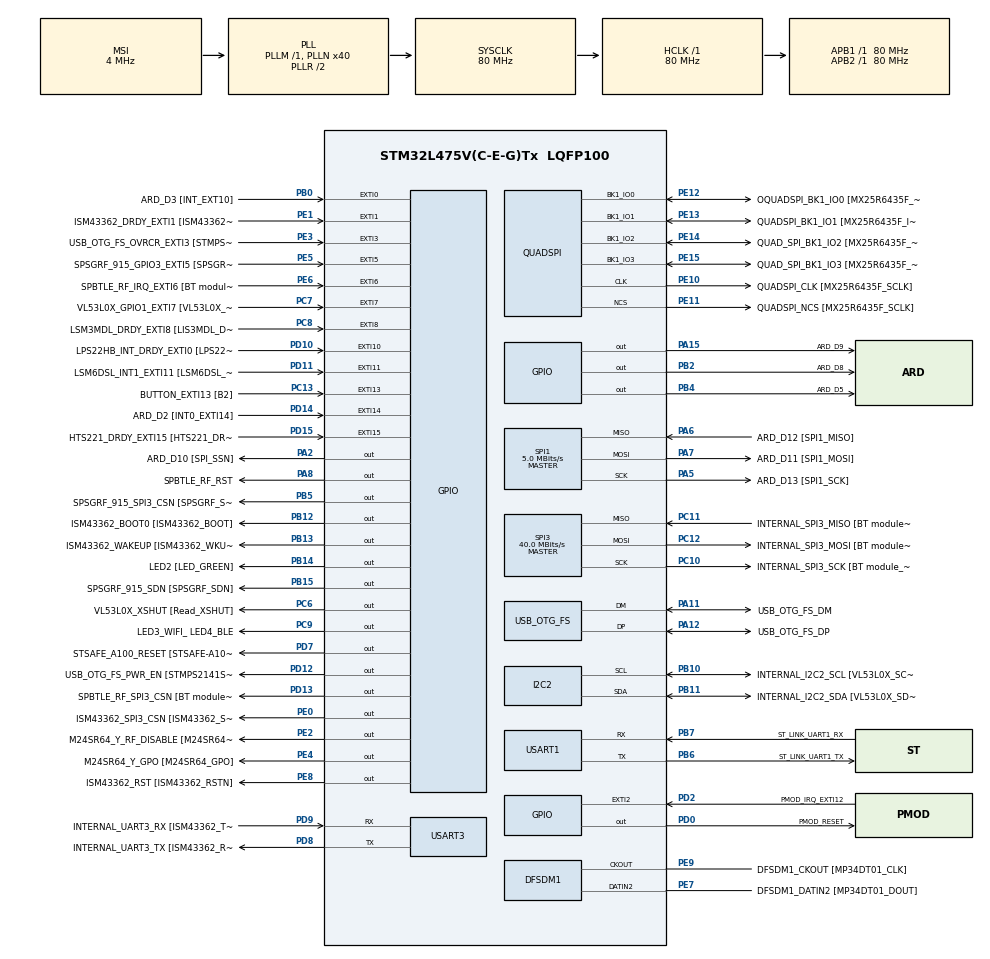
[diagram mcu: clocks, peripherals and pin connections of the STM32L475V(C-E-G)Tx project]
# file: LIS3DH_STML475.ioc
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Mcu.Family=STM32L4
Mcu.Name=STM32L475V(C-E-G)Tx
Mcu.Package=LQFP100
NVIC.EXTI15_10_IRQn=true\:0\:0\:false\:false\:true\:true\:true
NVIC.EXTI9_5_IRQn=true\:0\:0\:false\:false\:true\:true\:true
NVIC.PriorityGroup=NVIC_PRIORITYGROUP_4
PA0.GPIO_Label=ARD_D1 [UART4_TX]
PA0.Signal=UART4_TX
PA1.GPIO_Label=ARD_D0 [UART4_RX]
PA1.Signal=UART4_RX
PA10.GPIO_Label=USB_OTG_FS_ID
PA10.Signal=USB_OTG_FS_ID
PA11.GPIO_Label=USB_OTG_FS_DM
PA11.Mode=Device_Only
PA11.Signal=USB_OTG_FS_DM
PA12.GPIO_Label=USB_OTG_FS_DP
PA12.Mode=Device_Only
PA12.Signal=USB_OTG_FS_DP
PA13\ (JTMS-SWDIO).GPIO_Label=SYS_JTMS_SWDIO
PA13\ (JTMS-SWDIO).Mode=Serial_Wire
PA13\ (JTMS-SWDIO).Signal=SYS_JTMS-SWDIO
PA14\ (JTCK-SWCLK).GPIO_Label=SYS_JTCK_SWCLK
PA14\ (JTCK-SWCLK).Mode=Serial_Wire
PA14\ (JTCK-SWCLK).Signal=SYS_JTCK-SWCLK
PA15\ (JTDI).GPIO_Label=ARD_D9
PA15\ (JTDI).Signal=GPIO_Output
PA2.GPIO_Label=ARD_D10 [SPI_SSN]
PA2.Signal=GPIO_Output
PA3.GPIO_Label=ARD_D4
PA3.Signal=S_TIM2_CH4
PA4.GPIO_Label=ARD_D7
PA4.Signal=ADCx_IN9
PA5.GPIO_Label=ARD_D13 [SPI1_SCK]
PA5.Mode=Full_Duplex_Master
PA5.Signal=SPI1_SCK
PA6.GPIO_Label=ARD_D12 [SPI1_MISO]
PA6.Mode=Full_Duplex_Master
PA6.Signal=SPI1_MISO
PA7.GPIO_Label=ARD_D11 [SPI1_MOSI]
PA7.Mode=Full_Duplex_Master
PA7.Signal=SPI1_MOSI
PA8.GPIO_Label=SPBTLE_RF_RST
PA8.Signal=GPIO_Output
PA9.GPIO_Label=USB_OTG_FS_VBUS [STMPS2141STR_OUT]
PA9.Signal=USB_OTG_FS_VBUS
PB0.GPIO_Label=ARD_D3 [INT_EXT10]
PB0.Signal=GPXTI0
PB1.GPIO_Label=ARD_D6 [ADC1_IN6]
PB1.Signal=ADCx_IN16
PB10.GPIO_Label=INTERNAL_I2C2_SCL [VL53L0X_SCL]
PB10.Mode=I2C
PB10.Signal=I2C2_SCL
PB11.GPIO_Label=INTERNAL_I2C2_SDA [VL53L0X_SDA]
PB11.Mode=I2C
PB11.Signal=I2C2_SDA
PB12.GPIO_Label=ISM43362_BOOT0 [ISM43362_BOOT]
PB12.Signal=GPIO_Output
PB13.GPIO_Label=ISM43362_WAKEUP [ISM43362_WKUP]
PB13.Signal=GPIO_Output
PB14.GPIO_Label=LED2 [LED_GREEN]
PB14.Signal=GPIO_Output
PB15.GPIO_Label=SPSGRF_915_SDN [SPSGRF_SDN]
PB15.Signal=GPIO_Output
PB2.GPIO_Label=ARD_D8
PB2.Signal=GPIO_Output
PB3\ (JTDO-TRACESWO).GPIO_Label=SYS_JTD0_SWO
PB3\ (JTDO-TRACESWO).Signal=SYS_JTDO-SWO
PB4\ (NJTRST).GPIO_Label=ARD_D5
PB4\ (NJTRST).Signal=GPIO_Output
PB5.GPIO_Label=SPSGRF_915_SPI3_CSN [SPSGRF_SPI_CS]
PB5.PinState=GPIO_PIN_SET
PB5.Signal=GPIO_Output
PB6.GPIO_Label=ST_LINK_UART1_TX
PB6.Mode=Asynchronous
PB6.Signal=USART1_TX
PB7.GPIO_Label=ST_LINK_UART1_RX
PB7.Mode=Asynchronous
PB7.Signal=USART1_RX
PB8.GPIO_Label=ARD_D15 [I2C1_SCL]
PB8.Signal=I2C1_SCL
PB9.GPIO_Label=ARD_D14 [I2C1_SDA]
PB9.Signal=I2C1_SDA
PC0.GPIO_Label=ARD_A5 [ADC]
PC0.Signal=ADCx_IN1
PC1.GPIO_Label=ARD_A4 [ADC]
PC1.Signal=ADCx_IN2
PC10.GPIO_Label=INTERNAL_SPI3_SCK [BT module_SPI_SCLK]
PC10.Mode=Full_Duplex_Master
PC10.Signal=SPI3_SCK
PC11.GPIO_Label=INTERNAL_SPI3_MISO [BT module_SPI_MISO]
PC11.Mode=Full_Duplex_Master
PC11.Signal=SPI3_MISO
PC12.GPIO_Label=INTERNAL_SPI3_MOSI [BT module_SPI_MOSI]
PC12.Mode=Full_Duplex_Master
PC12.Signal=SPI3_MOSI
PC13.GPIO_Label=BUTTON_EXTI13 [B2]
PC13.GPIO_ModeDefaultEXTI=GPIO_MODE_IT_FALLING
PC13.Signal=GPXTI13
PC14-OSC32_IN\ (PC14).Mode=LSE-External-Oscillator
PC14-OSC32_IN\ (PC14).Signal=RCC_OSC32_IN
PC15-OSC32_OUT\ (PC15).Mode=LSE-External-Oscillator
PC15-OSC32_OUT\ (PC15).Signal=RCC_OSC32_OUT
PC2.GPIO_Label=ARD_A3 [ADC]
PC2.Signal=ADCx_IN3
PC3.GPIO_Label=ARD_A2 [ADC]
PC3.Signal=ADCx_IN4
PC4.GPIO_Label=ARD_A1 [ADC]
PC4.Signal=ADCx_IN13
PC5.GPIO_Label=ARD_A0 [ADC]
PC5.Signal=ADCx_IN14
PC6.GPIO_Label=VL53L0X_XSHUT [Read_XSHUT]
PC6.Signal=GPIO_Output
PC7.GPIO_Label=VL53L0X_GPIO1_EXTI7 [VL53L0X_GPIO1]
PC7.Signal=GPXTI7
PC8.GPIO_Label=LSM3MDL_DRDY_EXTI8 [LIS3MDL_DRDY]
PC8.Signal=GPXTI8
PC9.GPIO_Label=LED3_WIFI_ LED4_BLE
PC9.Signal=GPIO_Output
PD0.GPIO_Label=PMOD_RESET
PD0.Signal=GPIO_Output
PD1.GPIO_Label=PMOD_SPI2_SCK
PD1.Signal=SPI2_SCK
PD10.GPIO_Label=LPS22HB_INT_DRDY_EXTI0 [LPS22HB_INT_DRDY] 
PD10.Signal=GPXTI10
PD11.GPIO_Label=LSM6DSL_INT1_EXTI11 [LSM6DSL_INT1]
PD11.Signal=GPXTI11
PD12.GPIO_Label=USB_OTG_FS_PWR_EN [STMPS2141STR_EN]
PD12.Signal=GPIO_Output
PD13.GPIO_Label=SPBTLE_RF_SPI3_CSN [BT module_SPI_CS]
PD13.PinState=GPIO_PIN_SET
PD13.Signal=GPIO_Output
PD14.GPIO_Label=ARD_D2 [INT0_EXTI14]
PD14.Signal=GPXTI14
PD15.GPIO_Label=HTS221_DRDY_EXTI15 [HTS221_DRDY]
PD15.Signal=GPXTI15
PD2.GPIO_Label=PMOD_IRQ_EXTI12
PD2.Signal=GPXTI2
PD3.GPIO_Label=PMOD_UART2_CTS
PD3.Signal=USART2_CTS
PD4.GPIO_Label=PMOD_UART2_RTS
PD4.Signal=USART2_RTS
PD5.GPIO_Label=PMOD_UART2_TX
PD5.Signal=USART2_TX
PD6.GPIO_Label=PMOD_UART2_RX
PD6.Signal=USART2_RX
PD7.GPIO_Label=STSAFE_A100_RESET [STSAFE-A100_RESET]
PD7.Signal=GPIO_Output
PD8.GPIO_Label=INTERNAL_UART3_TX [ISM43362_RX]
PD8.Mode=Asynchronous
PD8.Signal=USART3_TX
PD9.GPIO_Label=INTERNAL_UART3_RX [ISM43362_TX]
PD9.Mode=Asynchronous
PD9.Signal=USART3_RX
PE0.GPIO_Label=ISM43362_SPI3_CSN [ISM43362_SSN]
PE0.PinState=GPIO_PIN_SET
PE0.Signal=GPIO_Output
PE1.GPIO_Label=ISM43362_DRDY_EXTI1 [ISM43362_DATARDY]
PE1.Signal=GPXTI1
PE10.GPIO_Label=QUADSPI_CLK [MX25R6435F_SCLK]
PE10.Mode=Single Bank
PE10.Signal=QUADSPI_CLK
PE11.GPIO_Label=QUADSPI_NCS [MX25R6435F_SCLK]
PE11.Mode=Single Bank
PE11.Signal=QUADSPI_NCS
PE12.GPIO_Label=OQUADSPI_BK1_IO0 [MX25R6435F_IO0]
PE12.Mode=Single Bank
PE12.Signal=QUADSPI_BK1_IO0
PE13.GPIO_Label=QUADSPI_BK1_IO1 [MX25R6435F_IO1]
PE13.Mode=Single Bank
PE13.Signal=QUADSPI_BK1_IO1
PE14.GPIO_Label=QUAD_SPI_BK1_IO2 [MX25R6435F_IO2]
PE14.Mode=Single Bank
PE14.Signal=QUADSPI_BK1_IO2
PE15.GPIO_Label=QUAD_SPI_BK1_IO3 [MX25R6435F_IO3]
PE15.Mode=Single Bank
PE15.Signal=QUADSPI_BK1_IO3
PE2.GPIO_Label=M24SR64_Y_RF_DISABLE [M24SR64_RFDIS]
PE2.Signal=GPIO_Output
PE3.GPIO_Label=USB_OTG_FS_OVRCR_EXTI3 [STMPS2141STR_FAULT]
PE3.Signal=GPXTI3
PE4.GPIO_Label=M24SR64_Y_GPO [M24SR64_GPO]
PE4.Signal=GPIO_Output
PE5.GPIO_Label=SPSGRF_915_GPIO3_EXTI5 [SPSGRF_GPIO_3]
PE5.Signal=GPXTI5
PE6.GPIO_Label=SPBTLE_RF_IRQ_EXTI6 [BT module_SPI_IRQ]
PE6.Signal=GPXTI6
PE7.GPIO_Label=DFSDM1_DATIN2 [MP34DT01_DOUT]
PE7.Signal=S_DATAIN2DFSDM1
PE8.GPIO_Label=ISM43362_RST [ISM43362_RSTN]
PE8.Signal=GPIO_Output
PE9.GPIO_Label=DFSDM1_CKOUT [MP34DT01_CLK]
PE9.Signal=S_CKOUTDFSDM1
ProjectManager.HeapSize=0x200
ProjectManager.StackSize=0x400
ProjectManager.TargetToolchain=STM32CubeIDE
RCC.ADCFreq_Value=48000000
RCC.AHBFreq_Value=80000000
RCC.APB1Freq_Value=80000000
RCC.APB1TimFreq_Value=80000000
RCC.APB2Freq_Value=80000000
RCC.APB2TimFreq_Value=80000000
RCC.CortexFreq_Value=80000000
RCC.HCLKFreq_Value=80000000
RCC.HSE_VALUE=8000000
RCC.HSI_VALUE=16000000
RCC.MSI_VALUE=4000000
RCC.PLLN=40
RCC.PLLSAI1N=24
RCC.SYSCLKFreq_VALUE=80000000
RCC.SYSCLKSource=RCC_SYSCLKSOURCE_PLLCLK
RCC.USBFreq_Value=48000000
RCC.VCOOutputFreq_Value=160000000
SH.ADCx_IN1.0=ADC1_IN1
SH.ADCx_IN13.0=ADC1_IN13
SH.ADCx_IN14.0=ADC1_IN14
SH.ADCx_IN16.0=ADC1_IN16
SH.ADCx_IN2.0=ADC1_IN2
SH.ADCx_IN3.0=ADC1_IN3
SH.ADCx_IN4.0=ADC1_IN4
SH.ADCx_IN9.0=ADC1_IN9
SH.S_CKOUTDFSDM1.0=DFSDM1_CKOUT,CKOUT
SH.S_CKOUTDFSDM1.1=DFSDM1_CKOUT,PDM_SPI_Input_from_ch12_and_Internal_Clock
SH.S_DATAIN2DFSDM1.0=DFSDM1_DATIN2,PDM_SPI_Input_from_ch12_and_Internal_Clock
SH.S_TIM2_CH4.0=TIM2_CH4
SPI1.BaudRatePrescaler=SPI_BAUDRATEPRESCALER_16
SPI1.CalculateBaudRate=5.0 MBits/s
SPI1.DataSize=SPI_DATASIZE_8BIT
SPI1.Direction=SPI_DIRECTION_2LINES
SPI1.Mode=SPI_MODE_MASTER
SPI1.VirtualType=VM_MASTER
SPI3.CalculateBaudRate=40.0 MBits/s
SPI3.Direction=SPI_DIRECTION_2LINES
SPI3.Mode=SPI_MODE_MASTER
SPI3.VirtualType=VM_MASTER
USART1.VirtualMode-Asynchronous=VM_ASYNC
USART3.VirtualMode-Asynchronous=VM_ASYNC
USB_OTG_FS.VirtualMode=Device_Only
board=B-L475E-IOT01A1

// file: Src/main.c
/* USER CODE BEGIN Header */
/**
  ******************************************************************************
  * @file           : main.c
  * @brief          : Main program body
  ******************************************************************************
  * @attention
  *
  * <h2><center>&copy; Copyright (c) 2020 STMicroelectronics.
  * All rights reserved.</center></h2>
  *
  * This software component is licensed by ST under BSD 3-Clause license,
  * the "License"; You may not use this file except in compliance with the
  * License. You may obtain a copy of the License at:
  *                        opensource.org/licenses/BSD-3-Clause
  *
  ******************************************************************************
  */
/* USER CODE END Header */

#include "main.h"
#include "math.h"

/* USER CODE BEGIN PD */
// register addresses

/* USER CODE END PD */

DFSDM_Channel_HandleTypeDef hdfsdm1_channel1;

I2C_HandleTypeDef hi2c2;

QSPI_HandleTypeDef hqspi;

SPI_HandleTypeDef hspi1;
SPI_HandleTypeDef hspi3;

UART_HandleTypeDef huart1;
UART_HandleTypeDef huart3;

PCD_HandleTypeDef hpcd_USB_OTG_FS;

void SystemClock_Config(void);
static void MX_GPIO_Init(void);
static void MX_DFSDM1_Init(void);
static void MX_I2C2_Init(void);
static void MX_QUADSPI_Init(void);
static void MX_SPI1_Init(void);
static void MX_SPI3_Init(void);
static void MX_USART1_UART_Init(void);
static void MX_USART3_UART_Init(void);
static void MX_USB_OTG_FS_PCD_Init(void);

/* USER CODE BEGIN 0 */

//~~~~~~~~~~~~~~~~~~~~~~~~~~~~~~ Driver code for LIS3DH control ~~~~~~~~~~~~~~~~~~~~~~~~~~~~~~

#define LIS3DH_REG_STATUS_AUX    0x07
#define LIS3DH_REG_OUT_ADC1_L    0x08
#define LIS3DH_REG_OUT_ADC1_H    0x09
#define LIS3DH_REG_OUT_ADC2_L    0x0a
#define LIS3DH_REG_OUT_ADC2_H    0x0b
#define LIS3DH_REG_OUT_ADC3_L    0x0c
#define LIS3DH_REG_OUT_ADC3_H    0x0d
#define LIS3DH_REG_INT_COUNTER   0x0e
#define LIS3DH_REG_WHO_AM_I      0x0f
#define LIS3DH_REG_TEMP_CFG      0x1f
#define LIS3DH_REG_CTRL1         0x20
#define LIS3DH_REG_STATUS        0x27
#define LIS3DH_REG_OUT_X_L       0x28
#define LIS3DH_REG_OUT_X_H       0x29
#define LIS3DH_REG_OUT_Y_L       0x2a
#define LIS3DH_REG_OUT_Y_H       0x2b
#define LIS3DH_REG_OUT_Z_L       0x2c
#define LIS3DH_REG_OUT_Z_H       0x2d

#define LIS3DH_READ				 0x80
#define LIS3DH_WRITE			 0x00

#define LIS3DH_ON_1HZ		 	 0x17
#define LIS3DH_ON_10HZ		     0x27
#define LIS3DH_ON_25HZ		     0x37
#define LIS3DH_ON_50HZ		     0x47
#define LIS3DH_ON_100HZ		     0x57
#define LIS3DH_ON_200HZ		     0x67
#define LIS3DH_ON_400HZ		     0x77
#define LIS3DH_ON_ADC		     0x80

GPIO_TypeDef * LIS3DH_CS_Port;
uint16_t LIS3DH_CS_Pin;

//Chip Select is active low for SPI.  So Enable drives the GPIO low (Reset)
#define LIS3DH_SPI_ENABLE HAL_GPIO_WritePin(LIS3DH_CS_Port, LIS3DH_CS_Pin, 0);
#define LIS3DH_SPI_DISABLE HAL_GPIO_WritePin (LIS3DH_CS_Port, LIS3DH_CS_Pin, 1);

SPI_HandleTypeDef LIS3DH_hspi;

uint8_t LIS3DH_readReg(uint8_t lis3dhReg)
{
	uint8_t sendAddr;
	uint8_t readData;

	sendAddr = LIS3DH_READ | lis3dhReg;

    LIS3DH_SPI_ENABLE;

    HAL_SPI_Transmit(&LIS3DH_hspi, &sendAddr, 1, HAL_MAX_DELAY);
    HAL_SPI_Receive(&LIS3DH_hspi, &readData, 1, HAL_MAX_DELAY);

	LIS3DH_SPI_DISABLE;

	return (readData);

}
void LIS3DH_writeReg(uint8_t lis3dhReg, uint8_t lis3dhValue)
{
	uint8_t sendAddr;
	uint8_t sendData;

	sendAddr = LIS3DH_WRITE | lis3dhReg;
	sendData = lis3dhValue;

    LIS3DH_SPI_ENABLE;

    HAL_SPI_Transmit(&LIS3DH_hspi, &sendAddr, 1, HAL_MAX_DELAY);
    HAL_SPI_Transmit(&LIS3DH_hspi, &sendData, 1, HAL_MAX_DELAY);

	LIS3DH_SPI_DISABLE;

	return;

}
uint16_t LIS3DH_readX(void)
{
	return((LIS3DH_readReg(LIS3DH_REG_OUT_X_H)<<8) | LIS3DH_readReg(LIS3DH_REG_OUT_X_L));
}
uint16_t LIS3DH_readY(void)
{
	return((LIS3DH_readReg(LIS3DH_REG_OUT_Y_H)<<8) | LIS3DH_readReg(LIS3DH_REG_OUT_Y_L));
}
uint16_t LIS3DH_readZ(void)
{
	return((LIS3DH_readReg(LIS3DH_REG_OUT_Z_H)<<8) | LIS3DH_readReg(LIS3DH_REG_OUT_Z_L));
}

uint16_t LIS3DH_readADC1(void)
{
	return((LIS3DH_readReg(LIS3DH_REG_OUT_ADC1_H)<<8) | LIS3DH_readReg(LIS3DH_REG_OUT_ADC1_L));
}
uint16_t LIS3DH_readADC2(void)
{
	return((LIS3DH_readReg(LIS3DH_REG_OUT_ADC2_H)<<8) | LIS3DH_readReg(LIS3DH_REG_OUT_ADC2_L));
}
uint16_t LIS3DH_readADC3(void)
{
	return((LIS3DH_readReg(LIS3DH_REG_OUT_ADC3_H)<<8) | LIS3DH_readReg(LIS3DH_REG_OUT_ADC3_L));
}
//~~~~~~~~~~~~~~~~~~~~~~~~~~~~~~~~~~~~~~~~~~~~~~~~~~~~~~~~~~~~~~~~~~~~~~~~~~~~~~~~~~~~~~~~~~~~

/* USER CODE END 0 */

int main(void)
{

  /* MCU Configuration--------------------------------------------------------*/

  /* Reset of all peripherals, Initializes the Flash interface and the Systick. */
  HAL_Init();

  /* Configure the system clock */
  SystemClock_Config();

  /* Initialize all configured peripherals */
  MX_GPIO_Init();
  MX_DFSDM1_Init();
  MX_I2C2_Init();
  MX_QUADSPI_Init();
  MX_SPI1_Init();
  MX_SPI3_Init();
  MX_USART1_UART_Init();
  MX_USART3_UART_Init();
  MX_USB_OTG_FS_PCD_Init();

  /* USER CODE BEGIN 2 */

//~~~~~~~~~~~~~~~~~~~~~~~~~~~~ Initialization code for LIS3DH control ~~~~~~~~~~~~~~~~~~~~~~~~~~~
  //configure SPI interface for specific STM device
  LIS3DH_hspi = hspi1;
  LIS3DH_CS_Pin = ARD_D10_Pin;
  LIS3DH_CS_Port = ARD_D10_GPIO_Port;
  //initialize accelerometers
  LIS3DH_writeReg(LIS3DH_REG_CTRL1, LIS3DH_ON_400HZ);
  //preset chip select for normal SPI.
  LIS3DH_SPI_DISABLE;
//~~~~~~~~~~~~~~~~~~~~~~~~~~~~~~~~~~~~~~~~~~~~~~~~~~~~~~~~~~~~~~~~~~~~~~~~~~~~~~~~~~~~~~~~~~~~~~

  /* USER CODE END 2 */

  /* Infinite loop */
  /* USER CODE BEGIN WHILE */

  //~~~~~~~~~~~~~~~~~~~~~~~~~~~~~~ Example LIS3DH accelerometer code ~~~~~~~~~~~~~~~~~~~~~~~~~~~~~
	int xAcceleration;
	int yAcceleration;
	int zAcceleration;

	int xAccelerationOld;
	int yAccelerationOld;
	int zAccelerationOld;

	xAccelerationOld = LIS3DH_readX();
	yAccelerationOld = LIS3DH_readY();
	zAccelerationOld = LIS3DH_readZ();

  while (1)
  {
    /* USER CODE END WHILE */
	xAcceleration = LIS3DH_readX();
	yAcceleration = LIS3DH_readY();
	zAcceleration = LIS3DH_readZ();

	if( (abs(xAcceleration-xAccelerationOld)>40000) ||
		(abs(yAcceleration-yAccelerationOld)>40000) ||
		(abs(zAcceleration-zAccelerationOld)>40000) )
	{
		HAL_GPIO_WritePin(GPIOC, GPIO_PIN_9, 1);
		HAL_Delay(1000);
		HAL_GPIO_WritePin(GPIOC, GPIO_PIN_9, 0);
		xAccelerationOld = xAcceleration;
		yAccelerationOld = yAcceleration;
		zAccelerationOld = zAcceleration;
	}
  //~~~~~~~~~~~~~~~~~~~~~~~~~~~~~~~~~~~~~~~~~~~~~~~~~~~~~~~~~~~~~~~~~~~~~~~~~~~~~~~~~~~~~~~~~~~~~~~

  }
}

void SystemClock_Config(void)
{
  RCC_OscInitTypeDef RCC_OscInitStruct = {0};
  RCC_ClkInitTypeDef RCC_ClkInitStruct = {0};
  RCC_PeriphCLKInitTypeDef PeriphClkInit = {0};

  /** Configure LSE Drive Capability
  */
  HAL_PWR_EnableBkUpAccess();
  __HAL_RCC_LSEDRIVE_CONFIG(RCC_LSEDRIVE_LOW);
  /** Initializes the CPU, AHB and APB busses clocks
  */
  RCC_OscInitStruct.OscillatorType = RCC_OSCILLATORTYPE_LSE|RCC_OSCILLATORTYPE_MSI;
  RCC_OscInitStruct.LSEState = RCC_LSE_ON;
  RCC_OscInitStruct.MSIState = RCC_MSI_ON;
  RCC_OscInitStruct.MSICalibrationValue = 0;
  RCC_OscInitStruct.MSIClockRange = RCC_MSIRANGE_6;
  RCC_OscInitStruct.PLL.PLLState = RCC_PLL_ON;
  RCC_OscInitStruct.PLL.PLLSource = RCC_PLLSOURCE_MSI;
  RCC_OscInitStruct.PLL.PLLM = 1;
  RCC_OscInitStruct.PLL.PLLN = 40;
  RCC_OscInitStruct.PLL.PLLP = RCC_PLLP_DIV7;
  RCC_OscInitStruct.PLL.PLLQ = RCC_PLLQ_DIV2;
  RCC_OscInitStruct.PLL.PLLR = RCC_PLLR_DIV2;
  if (HAL_RCC_OscConfig(&RCC_OscInitStruct) != HAL_OK)
  {
    Error_Handler();
  }
  /** Initializes the CPU, AHB and APB busses clocks
  */
  RCC_ClkInitStruct.ClockType = RCC_CLOCKTYPE_HCLK|RCC_CLOCKTYPE_SYSCLK
                              |RCC_CLOCKTYPE_PCLK1|RCC_CLOCKTYPE_PCLK2;
  RCC_ClkInitStruct.SYSCLKSource = RCC_SYSCLKSOURCE_PLLCLK;
  RCC_ClkInitStruct.AHBCLKDivider = RCC_SYSCLK_DIV1;
  RCC_ClkInitStruct.APB1CLKDivider = RCC_HCLK_DIV1;
  RCC_ClkInitStruct.APB2CLKDivider = RCC_HCLK_DIV1;

  if (HAL_RCC_ClockConfig(&RCC_ClkInitStruct, FLASH_LATENCY_4) != HAL_OK)
  {
    Error_Handler();
  }
  PeriphClkInit.PeriphClockSelection = RCC_PERIPHCLK_USART1|RCC_PERIPHCLK_USART3
                              |RCC_PERIPHCLK_I2C2|RCC_PERIPHCLK_DFSDM1
                              |RCC_PERIPHCLK_USB;
  PeriphClkInit.Usart1ClockSelection = RCC_USART1CLKSOURCE_PCLK2;
  PeriphClkInit.Usart3ClockSelection = RCC_USART3CLKSOURCE_PCLK1;
  PeriphClkInit.I2c2ClockSelection = RCC_I2C2CLKSOURCE_PCLK1;
  PeriphClkInit.Dfsdm1ClockSelection = RCC_DFSDM1CLKSOURCE_PCLK;
  PeriphClkInit.UsbClockSelection = RCC_USBCLKSOURCE_PLLSAI1;
  PeriphClkInit.PLLSAI1.PLLSAI1Source = RCC_PLLSOURCE_MSI;
  PeriphClkInit.PLLSAI1.PLLSAI1M = 1;
  PeriphClkInit.PLLSAI1.PLLSAI1N = 24;
  PeriphClkInit.PLLSAI1.PLLSAI1P = RCC_PLLP_DIV7;
  PeriphClkInit.PLLSAI1.PLLSAI1Q = RCC_PLLQ_DIV2;
  PeriphClkInit.PLLSAI1.PLLSAI1R = RCC_PLLR_DIV2;
  PeriphClkInit.PLLSAI1.PLLSAI1ClockOut = RCC_PLLSAI1_48M2CLK;
  if (HAL_RCCEx_PeriphCLKConfig(&PeriphClkInit) != HAL_OK)
  {
    Error_Handler();
  }
  /** Configure the main internal regulator output voltage
  */
  if (HAL_PWREx_ControlVoltageScaling(PWR_REGULATOR_VOLTAGE_SCALE1) != HAL_OK)
  {
    Error_Handler();
  }
  /** Enable MSI Auto calibration
  */
  HAL_RCCEx_EnableMSIPLLMode();
}

static void MX_DFSDM1_Init(void)
{

  hdfsdm1_channel1.Instance = DFSDM1_Channel1;
  hdfsdm1_channel1.Init.OutputClock.Activation = ENABLE;
  hdfsdm1_channel1.Init.OutputClock.Selection = DFSDM_CHANNEL_OUTPUT_CLOCK_SYSTEM;
  hdfsdm1_channel1.Init.OutputClock.Divider = 2;
  hdfsdm1_channel1.Init.Input.Multiplexer = DFSDM_CHANNEL_EXTERNAL_INPUTS;
  hdfsdm1_channel1.Init.Input.DataPacking = DFSDM_CHANNEL_STANDARD_MODE;
  hdfsdm1_channel1.Init.Input.Pins = DFSDM_CHANNEL_FOLLOWING_CHANNEL_PINS;
  hdfsdm1_channel1.Init.SerialInterface.Type = DFSDM_CHANNEL_SPI_RISING;
  hdfsdm1_channel1.Init.SerialInterface.SpiClock = DFSDM_CHANNEL_SPI_CLOCK_INTERNAL;
  hdfsdm1_channel1.Init.Awd.FilterOrder = DFSDM_CHANNEL_FASTSINC_ORDER;
  hdfsdm1_channel1.Init.Awd.Oversampling = 1;
  hdfsdm1_channel1.Init.Offset = 0;
  hdfsdm1_channel1.Init.RightBitShift = 0x00;
  if (HAL_DFSDM_ChannelInit(&hdfsdm1_channel1) != HAL_OK)
  {
    Error_Handler();
  }

}

static void MX_I2C2_Init(void)
{

  hi2c2.Instance = I2C2;
  hi2c2.Init.Timing = 0x10909CEC;
  hi2c2.Init.OwnAddress1 = 0;
  hi2c2.Init.AddressingMode = I2C_ADDRESSINGMODE_7BIT;
  hi2c2.Init.DualAddressMode = I2C_DUALADDRESS_DISABLE;
  hi2c2.Init.OwnAddress2 = 0;
  hi2c2.Init.OwnAddress2Masks = I2C_OA2_NOMASK;
  hi2c2.Init.GeneralCallMode = I2C_GENERALCALL_DISABLE;
  hi2c2.Init.NoStretchMode = I2C_NOSTRETCH_DISABLE;
  if (HAL_I2C_Init(&hi2c2) != HAL_OK)
  {
    Error_Handler();
  }
  /** Configure Analogue filter
  */
  if (HAL_I2CEx_ConfigAnalogFilter(&hi2c2, I2C_ANALOGFILTER_ENABLE) != HAL_OK)
  {
    Error_Handler();
  }
  /** Configure Digital filter
  */
  if (HAL_I2CEx_ConfigDigitalFilter(&hi2c2, 0) != HAL_OK)
  {
    Error_Handler();
  }

}

static void MX_QUADSPI_Init(void)
{

  /* QUADSPI parameter configuration*/
  hqspi.Instance = QUADSPI;
  hqspi.Init.ClockPrescaler = 255;
  hqspi.Init.FifoThreshold = 1;
  hqspi.Init.SampleShifting = QSPI_SAMPLE_SHIFTING_NONE;
  hqspi.Init.FlashSize = 1;
  hqspi.Init.ChipSelectHighTime = QSPI_CS_HIGH_TIME_1_CYCLE;
  hqspi.Init.ClockMode = QSPI_CLOCK_MODE_0;
  if (HAL_QSPI_Init(&hqspi) != HAL_OK)
  {
    Error_Handler();
  }

}

static void MX_SPI1_Init(void)
{

  /* SPI1 parameter configuration*/

//~~~~~~~~~~~~~~~~~~~~~~~~~~~ STM_HAL SPI initialization code for LIS3DH ~~~~~~~~~~~~~~~~~~~~~~~~~~

  hspi1.Instance = SPI1;
  hspi1.Init.Mode = SPI_MODE_MASTER;
  hspi1.Init.Direction = SPI_DIRECTION_2LINES;
  hspi1.Init.DataSize = SPI_DATASIZE_8BIT;
  hspi1.Init.CLKPolarity = SPI_POLARITY_HIGH;
  hspi1.Init.CLKPhase = SPI_PHASE_2EDGE;
  hspi1.Init.NSS = SPI_NSS_SOFT;
  hspi1.Init.BaudRatePrescaler = SPI_BAUDRATEPRESCALER_32;
  hspi1.Init.FirstBit = SPI_FIRSTBIT_MSB;
  hspi1.Init.TIMode = SPI_TIMODE_DISABLE;
  hspi1.Init.CRCCalculation = SPI_CRCCALCULATION_DISABLE;
  hspi1.Init.CRCPolynomial = 7;
  hspi1.Init.CRCLength = SPI_CRC_LENGTH_DATASIZE;
  hspi1.Init.NSSPMode = SPI_NSS_PULSE_ENABLE;
  if (HAL_SPI_Init(&hspi1) != HAL_OK)
  {
    Error_Handler();
  }

//~~~~~~~~~~~~~~~~~~~~~~~~~~~~~~~~~~~~~~~~~~~~~~~~~~~~~~~~~~~~~~~~~~~~~~~~~~~~~~~~~~~~~~~~~~~~~~~~~

}

static void MX_SPI3_Init(void)
{

  /* SPI3 parameter configuration*/
  hspi3.Instance = SPI3;
  hspi3.Init.Mode = SPI_MODE_MASTER;
  hspi3.Init.Direction = SPI_DIRECTION_2LINES;
  hspi3.Init.DataSize = SPI_DATASIZE_4BIT;
  hspi3.Init.CLKPolarity = SPI_POLARITY_LOW;
  hspi3.Init.CLKPhase = SPI_PHASE_1EDGE;
  hspi3.Init.NSS = SPI_NSS_SOFT;
  hspi3.Init.BaudRatePrescaler = SPI_BAUDRATEPRESCALER_2;
  hspi3.Init.FirstBit = SPI_FIRSTBIT_MSB;
  hspi3.Init.TIMode = SPI_TIMODE_DISABLE;
  hspi3.Init.CRCCalculation = SPI_CRCCALCULATION_DISABLE;
  hspi3.Init.CRCPolynomial = 7;
  hspi3.Init.CRCLength = SPI_CRC_LENGTH_DATASIZE;
  hspi3.Init.NSSPMode = SPI_NSS_PULSE_ENABLE;
  if (HAL_SPI_Init(&hspi3) != HAL_OK)
  {
    Error_Handler();
  }

}

static void MX_USART1_UART_Init(void)
{

  huart1.Instance = USART1;
  huart1.Init.BaudRate = 115200;
  huart1.Init.WordLength = UART_WORDLENGTH_8B;
  huart1.Init.StopBits = UART_STOPBITS_1;
  huart1.Init.Parity = UART_PARITY_NONE;
  huart1.Init.Mode = UART_MODE_TX_RX;
  huart1.Init.HwFlowCtl = UART_HWCONTROL_NONE;
  huart1.Init.OverSampling = UART_OVERSAMPLING_16;
  huart1.Init.OneBitSampling = UART_ONE_BIT_SAMPLE_DISABLE;
  huart1.AdvancedInit.AdvFeatureInit = UART_ADVFEATURE_NO_INIT;
  if (HAL_UART_Init(&huart1) != HAL_OK)
  {
    Error_Handler();
  }

}

static void MX_USART3_UART_Init(void)
{

  huart3.Instance = USART3;
  huart3.Init.BaudRate = 115200;
  huart3.Init.WordLength = UART_WORDLENGTH_8B;
  huart3.Init.StopBits = UART_STOPBITS_1;
  huart3.Init.Parity = UART_PARITY_NONE;
  huart3.Init.Mode = UART_MODE_TX_RX;
  huart3.Init.HwFlowCtl = UART_HWCONTROL_NONE;
  huart3.Init.OverSampling = UART_OVERSAMPLING_16;
  huart3.Init.OneBitSampling = UART_ONE_BIT_SAMPLE_DISABLE;
  huart3.AdvancedInit.AdvFeatureInit = UART_ADVFEATURE_NO_INIT;
  if (HAL_UART_Init(&huart3) != HAL_OK)
  {
    Error_Handler();
  }

}

static void MX_USB_OTG_FS_PCD_Init(void)
{

  hpcd_USB_OTG_FS.Instance = USB_OTG_FS;
  hpcd_USB_OTG_FS.Init.dev_endpoints = 6;
  hpcd_USB_OTG_FS.Init.speed = PCD_SPEED_FULL;
  hpcd_USB_OTG_FS.Init.phy_itface = PCD_PHY_EMBEDDED;
  hpcd_USB_OTG_FS.Init.Sof_enable = DISABLE;
  hpcd_USB_OTG_FS.Init.low_power_enable = DISABLE;
  hpcd_USB_OTG_FS.Init.lpm_enable = DISABLE;
  hpcd_USB_OTG_FS.Init.battery_charging_enable = DISABLE;
  hpcd_USB_OTG_FS.Init.use_dedicated_ep1 = DISABLE;
  hpcd_USB_OTG_FS.Init.vbus_sensing_enable = DISABLE;
  if (HAL_PCD_Init(&hpcd_USB_OTG_FS) != HAL_OK)
  {
    Error_Handler();
  }

}

static void MX_GPIO_Init(void)
{
  GPIO_InitTypeDef GPIO_InitStruct = {0};

  /* GPIO Ports Clock Enable */
  __HAL_RCC_GPIOE_CLK_ENABLE();
  __HAL_RCC_GPIOC_CLK_ENABLE();
  __HAL_RCC_GPIOA_CLK_ENABLE();
  __HAL_RCC_GPIOB_CLK_ENABLE();
  __HAL_RCC_GPIOD_CLK_ENABLE();

  /*Configure GPIO pin Output Level */
  HAL_GPIO_WritePin(GPIOE, M24SR64_Y_RF_DISABLE_Pin|M24SR64_Y_GPO_Pin|ISM43362_RST_Pin, GPIO_PIN_RESET);

  /*Configure GPIO pin Output Level */
  HAL_GPIO_WritePin(GPIOA, ARD_D10_Pin|SPBTLE_RF_RST_Pin|ARD_D9_Pin, GPIO_PIN_RESET);

  /*Configure GPIO pin Output Level */
  HAL_GPIO_WritePin(GPIOB, ARD_D8_Pin|ISM43362_BOOT0_Pin|ISM43362_WAKEUP_Pin|LED2_Pin
                          |SPSGRF_915_SDN_Pin|ARD_D5_Pin, GPIO_PIN_RESET);

  /*Configure GPIO pin Output Level */
  HAL_GPIO_WritePin(GPIOD, USB_OTG_FS_PWR_EN_Pin|PMOD_RESET_Pin|STSAFE_A100_RESET_Pin, GPIO_PIN_RESET);

  /*Configure GPIO pin Output Level */
  HAL_GPIO_WritePin(SPBTLE_RF_SPI3_CSN_GPIO_Port, SPBTLE_RF_SPI3_CSN_Pin, GPIO_PIN_SET);

  /*Configure GPIO pin Output Level */
  HAL_GPIO_WritePin(GPIOC, VL53L0X_XSHUT_Pin|LED3_WIFI__LED4_BLE_Pin, GPIO_PIN_RESET);

  /*Configure GPIO pin Output Level */
  HAL_GPIO_WritePin(SPSGRF_915_SPI3_CSN_GPIO_Port, SPSGRF_915_SPI3_CSN_Pin, GPIO_PIN_SET);

  /*Configure GPIO pin Output Level */
  HAL_GPIO_WritePin(ISM43362_SPI3_CSN_GPIO_Port, ISM43362_SPI3_CSN_Pin, GPIO_PIN_SET);

  /*Configure GPIO pins : M24SR64_Y_RF_DISABLE_Pin M24SR64_Y_GPO_Pin ISM43362_RST_Pin ISM43362_SPI3_CSN_Pin */
  GPIO_InitStruct.Pin = M24SR64_Y_RF_DISABLE_Pin|M24SR64_Y_GPO_Pin|ISM43362_RST_Pin|ISM43362_SPI3_CSN_Pin;
  GPIO_InitStruct.Mode = GPIO_MODE_OUTPUT_PP;
  GPIO_InitStruct.Pull = GPIO_NOPULL;
  GPIO_InitStruct.Speed = GPIO_SPEED_FREQ_LOW;
  HAL_GPIO_Init(GPIOE, &GPIO_InitStruct);

  /*Configure GPIO pins : USB_OTG_FS_OVRCR_EXTI3_Pin SPSGRF_915_GPIO3_EXTI5_Pin SPBTLE_RF_IRQ_EXTI6_Pin ISM43362_DRDY_EXTI1_Pin */
  GPIO_InitStruct.Pin = USB_OTG_FS_OVRCR_EXTI3_Pin|SPSGRF_915_GPIO3_EXTI5_Pin|SPBTLE_RF_IRQ_EXTI6_Pin|ISM43362_DRDY_EXTI1_Pin;
  GPIO_InitStruct.Mode = GPIO_MODE_IT_RISING;
  GPIO_InitStruct.Pull = GPIO_NOPULL;
  HAL_GPIO_Init(GPIOE, &GPIO_InitStruct);

  /*Configure GPIO pin : BUTTON_EXTI13_Pin */
  GPIO_InitStruct.Pin = BUTTON_EXTI13_Pin;
  GPIO_InitStruct.Mode = GPIO_MODE_IT_FALLING;
  GPIO_InitStruct.Pull = GPIO_NOPULL;
  HAL_GPIO_Init(BUTTON_EXTI13_GPIO_Port, &GPIO_InitStruct);

  /*Configure GPIO pins : ARD_A5_Pin ARD_A4_Pin ARD_A3_Pin ARD_A2_Pin
                           ARD_A1_Pin ARD_A0_Pin */
  GPIO_InitStruct.Pin = ARD_A5_Pin|ARD_A4_Pin|ARD_A3_Pin|ARD_A2_Pin
                          |ARD_A1_Pin|ARD_A0_Pin;
  GPIO_InitStruct.Mode = GPIO_MODE_ANALOG_ADC_CONTROL;
  GPIO_InitStruct.Pull = GPIO_NOPULL;
  HAL_GPIO_Init(GPIOC, &GPIO_InitStruct);

  /*Configure GPIO pins : ARD_D1_Pin ARD_D0_Pin */
  GPIO_InitStruct.Pin = ARD_D1_Pin|ARD_D0_Pin;
  GPIO_InitStruct.Mode = GPIO_MODE_AF_PP;
  GPIO_InitStruct.Pull = GPIO_NOPULL;
  GPIO_InitStruct.Speed = GPIO_SPEED_FREQ_VERY_HIGH;
  GPIO_InitStruct.Alternate = GPIO_AF8_UART4;
  HAL_GPIO_Init(GPIOA, &GPIO_InitStruct);

  /*Configure GPIO pins : ARD_D10_Pin SPBTLE_RF_RST_Pin ARD_D9_Pin */
  GPIO_InitStruct.Pin = ARD_D10_Pin|SPBTLE_RF_RST_Pin|ARD_D9_Pin;
  GPIO_InitStruct.Mode = GPIO_MODE_OUTPUT_PP;
  GPIO_InitStruct.Pull = GPIO_NOPULL;
  GPIO_InitStruct.Speed = GPIO_SPEED_FREQ_LOW;
  HAL_GPIO_Init(GPIOA, &GPIO_InitStruct);

  /*Configure GPIO pin : ARD_D4_Pin */
  GPIO_InitStruct.Pin = ARD_D4_Pin;
  GPIO_InitStruct.Mode = GPIO_MODE_AF_PP;
  GPIO_InitStruct.Pull = GPIO_NOPULL;
  GPIO_InitStruct.Speed = GPIO_SPEED_FREQ_LOW;
  GPIO_InitStruct.Alternate = GPIO_AF1_TIM2;
  HAL_GPIO_Init(ARD_D4_GPIO_Port, &GPIO_InitStruct);

  /*Configure GPIO pin : ARD_D7_Pin */
  GPIO_InitStruct.Pin = ARD_D7_Pin;
  GPIO_InitStruct.Mode = GPIO_MODE_ANALOG_ADC_CONTROL;
  GPIO_InitStruct.Pull = GPIO_NOPULL;
  HAL_GPIO_Init(ARD_D7_GPIO_Port, &GPIO_InitStruct);

  /*Configure GPIO pin : ARD_D3_Pin */
  GPIO_InitStruct.Pin = ARD_D3_Pin;
  GPIO_InitStruct.Mode = GPIO_MODE_IT_RISING;
  GPIO_InitStruct.Pull = GPIO_NOPULL;
  HAL_GPIO_Init(ARD_D3_GPIO_Port, &GPIO_InitStruct);

  /*Configure GPIO pin : ARD_D6_Pin */
  GPIO_InitStruct.Pin = ARD_D6_Pin;
  GPIO_InitStruct.Mode = GPIO_MODE_ANALOG_ADC_CONTROL;
  GPIO_InitStruct.Pull = GPIO_NOPULL;
  HAL_GPIO_Init(ARD_D6_GPIO_Port, &GPIO_InitStruct);

  /*Configure GPIO pins : ARD_D8_Pin ISM43362_BOOT0_Pin ISM43362_WAKEUP_Pin LED2_Pin
                           SPSGRF_915_SDN_Pin ARD_D5_Pin SPSGRF_915_SPI3_CSN_Pin */
  GPIO_InitStruct.Pin = ARD_D8_Pin|ISM43362_BOOT0_Pin|ISM43362_WAKEUP_Pin|LED2_Pin
                          |SPSGRF_915_SDN_Pin|ARD_D5_Pin|SPSGRF_915_SPI3_CSN_Pin;
  GPIO_InitStruct.Mode = GPIO_MODE_OUTPUT_PP;
  GPIO_InitStruct.Pull = GPIO_NOPULL;
  GPIO_InitStruct.Speed = GPIO_SPEED_FREQ_LOW;
  HAL_GPIO_Init(GPIOB, &GPIO_InitStruct);

  /*Configure GPIO pins : LPS22HB_INT_DRDY_EXTI0_Pin LSM6DSL_INT1_EXTI11_Pin ARD_D2_Pin HTS221_DRDY_EXTI15_Pin
                           PMOD_IRQ_EXTI12_Pin */
  GPIO_InitStruct.Pin = LPS22HB_INT_DRDY_EXTI0_Pin|LSM6DSL_INT1_EXTI11_Pin|ARD_D2_Pin|HTS221_DRDY_EXTI15_Pin
                          |PMOD_IRQ_EXTI12_Pin;
  GPIO_InitStruct.Mode = GPIO_MODE_IT_RISING;
  GPIO_InitStruct.Pull = GPIO_NOPULL;
  HAL_GPIO_Init(GPIOD, &GPIO_InitStruct);

  /*Configure GPIO pins : USB_OTG_FS_PWR_EN_Pin SPBTLE_RF_SPI3_CSN_Pin PMOD_RESET_Pin STSAFE_A100_RESET_Pin */
  GPIO_InitStruct.Pin = USB_OTG_FS_PWR_EN_Pin|SPBTLE_RF_SPI3_CSN_Pin|PMOD_RESET_Pin|STSAFE_A100_RESET_Pin;
  GPIO_InitStruct.Mode = GPIO_MODE_OUTPUT_PP;
  GPIO_InitStruct.Pull = GPIO_NOPULL;
  GPIO_InitStruct.Speed = GPIO_SPEED_FREQ_LOW;
  HAL_GPIO_Init(GPIOD, &GPIO_InitStruct);

  /*Configure GPIO pins : VL53L0X_XSHUT_Pin LED3_WIFI__LED4_BLE_Pin */
  GPIO_InitStruct.Pin = VL53L0X_XSHUT_Pin|LED3_WIFI__LED4_BLE_Pin;
  GPIO_InitStruct.Mode = GPIO_MODE_OUTPUT_PP;
  GPIO_InitStruct.Pull = GPIO_NOPULL;
  GPIO_InitStruct.Speed = GPIO_SPEED_FREQ_LOW;
  HAL_GPIO_Init(GPIOC, &GPIO_InitStruct);

  /*Configure GPIO pins : VL53L0X_GPIO1_EXTI7_Pin LSM3MDL_DRDY_EXTI8_Pin */
  GPIO_InitStruct.Pin = VL53L0X_GPIO1_EXTI7_Pin|LSM3MDL_DRDY_EXTI8_Pin;
  GPIO_InitStruct.Mode = GPIO_MODE_IT_RISING;
  GPIO_InitStruct.Pull = GPIO_NOPULL;
  HAL_GPIO_Init(GPIOC, &GPIO_InitStruct);

  /*Configure GPIO pin : PMOD_SPI2_SCK_Pin */
  GPIO_InitStruct.Pin = PMOD_SPI2_SCK_Pin;
  GPIO_InitStruct.Mode = GPIO_MODE_AF_PP;
  GPIO_InitStruct.Pull = GPIO_NOPULL;
  GPIO_InitStruct.Speed = GPIO_SPEED_FREQ_VERY_HIGH;
  GPIO_InitStruct.Alternate = GPIO_AF5_SPI2;
  HAL_GPIO_Init(PMOD_SPI2_SCK_GPIO_Port, &GPIO_InitStruct);

  /*Configure GPIO pins : PMOD_UART2_CTS_Pin PMOD_UART2_RTS_Pin PMOD_UART2_TX_Pin PMOD_UART2_RX_Pin */
  GPIO_InitStruct.Pin = PMOD_UART2_CTS_Pin|PMOD_UART2_RTS_Pin|PMOD_UART2_TX_Pin|PMOD_UART2_RX_Pin;
  GPIO_InitStruct.Mode = GPIO_MODE_AF_PP;
  GPIO_InitStruct.Pull = GPIO_NOPULL;
  GPIO_InitStruct.Speed = GPIO_SPEED_FREQ_VERY_HIGH;
  GPIO_InitStruct.Alternate = GPIO_AF7_USART2;
  HAL_GPIO_Init(GPIOD, &GPIO_InitStruct);

  /*Configure GPIO pins : ARD_D15_Pin ARD_D14_Pin */
  GPIO_InitStruct.Pin = ARD_D15_Pin|ARD_D14_Pin;
  GPIO_InitStruct.Mode = GPIO_MODE_AF_OD;
  GPIO_InitStruct.Pull = GPIO_PULLUP;
  GPIO_InitStruct.Speed = GPIO_SPEED_FREQ_VERY_HIGH;
  GPIO_InitStruct.Alternate = GPIO_AF4_I2C1;
  HAL_GPIO_Init(GPIOB, &GPIO_InitStruct);

  /* EXTI interrupt init*/
  HAL_NVIC_SetPriority(EXTI9_5_IRQn, 0, 0);
  HAL_NVIC_EnableIRQ(EXTI9_5_IRQn);

  HAL_NVIC_SetPriority(EXTI15_10_IRQn, 0, 0);
  HAL_NVIC_EnableIRQ(EXTI15_10_IRQn);

}

void Error_Handler(void)
{
}

/************************ (C) COPYRIGHT STMicroelectronics *****END OF FILE****/
